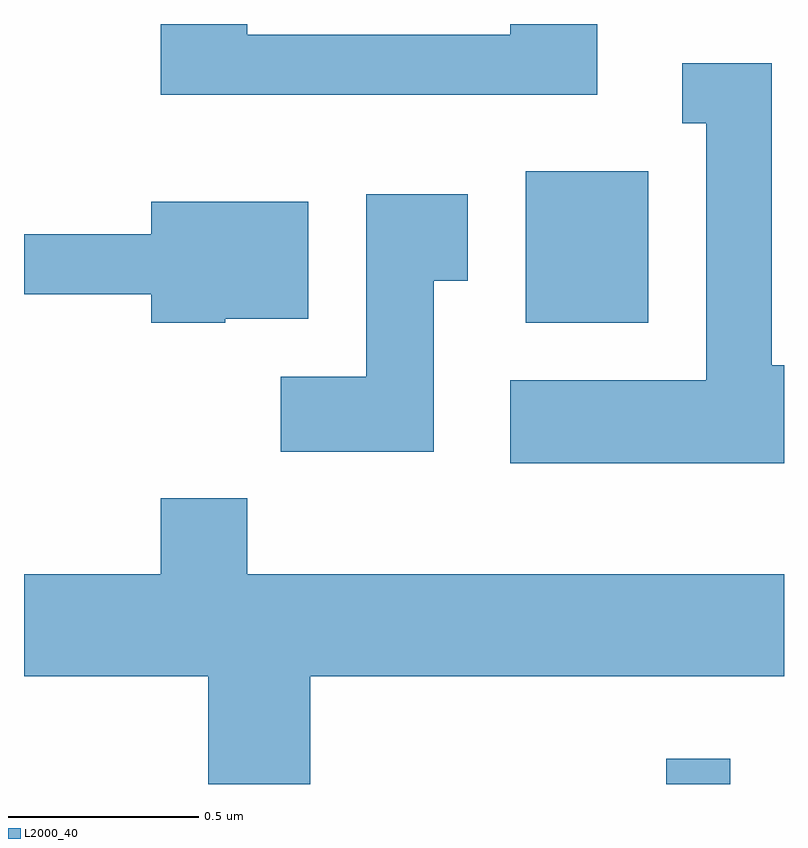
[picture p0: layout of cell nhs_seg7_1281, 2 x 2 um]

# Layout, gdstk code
import gdstk
lib = gdstk.Library(unit=1e-6, precision=1e-09)
def R(c, l, rs):  # rectangles x0, y0, x1, y1
    for r in rs: c.add(gdstk.rectangle(r[:2], r[2:], *l))
def P(c, l, *ps):  # polygons
    for p in ps: c.add(gdstk.Polygon(p, *l))
L2000_40 = (2000, 40)

nhs_seg7_1281 = lib.new_cell('nhs_seg7_1281')
R(nhs_seg7_1281, L2000_40, [(196.301,1716.252,196.469,1716.318), (195.931,1717.466,196.254,1717.864)])
P(nhs_seg7_1281, L2000_40, [(196.119,1718.252),(195.891,1718.252),(195.891,1718.224),(195.199,1718.224),(195.199,1718.252),(194.971,1718.252),(194.971,1718.066),(196.119,1718.066)],
  [(196.611,1717.354),(196.579,1717.354),(196.579,1718.149),(196.343,1718.149),(196.343,1717.991),(196.406,1717.991),(196.406,1717.314),(195.891,1717.314),(195.891,1717.096),(196.611,1717.096)],
  [(195.689,1717.576),(195.779,1717.576),(195.779,1717.804),(195.511,1717.804),(195.511,1717.324),(195.286,1717.324),(195.286,1717.126),(195.689,1717.126)],
  [(195.14,1717.476),(195.359,1717.476),(195.359,1717.784),(194.946,1717.784),(194.946,1717.699),(194.611,1717.699),(194.611,1717.541),(194.946,1717.541),(194.946,1717.466),(195.14,1717.466)],
  [(195.364,1716.536),(196.611,1716.536),(196.611,1716.804),(195.199,1716.804),(195.199,1717.004),(194.971,1717.004),(194.971,1716.804),(194.611,1716.804),(194.611,1716.536),(195.096,1716.536),(195.096,1716.252),(195.364,1716.252)])

lib.write_gds('nhs_seg7_1281.gds')
